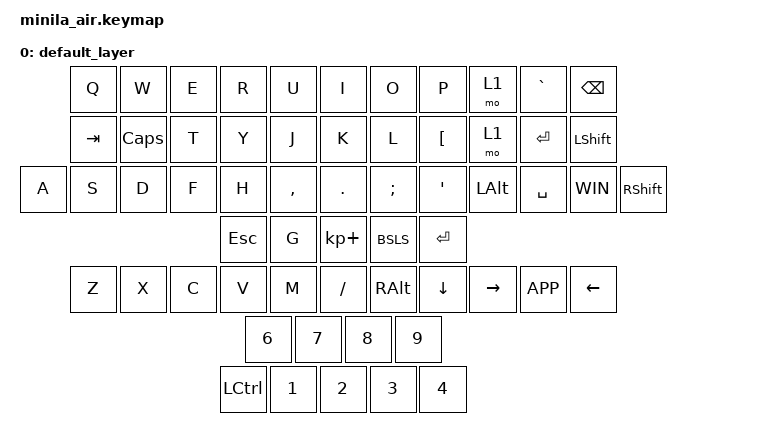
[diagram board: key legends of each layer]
/ {
    keymap {
        compatible = "zmk,keymap";

        default_layer {
            bindings = <
                &kp Q &kp W &kp E &kp R &kp U &kp I &kp O &kp P &mo 1 &kp GRAVE &kp BSPC
                &kp TAB &kp CAPS &kp T &kp Y &kp J &kp K &kp L &kp LBKT &mo 1 &kp RET &kp LSHFT
                &kp A &kp S &kp D &kp F &kp H &kp COMMA &kp DOT &kp SEMI &kp SQT &kp LALT &kp SPC &kp WIN &kp RSHFT
                &kp ESC &kp G &kp KP_PLUS &kp BSLS &kp ENTER
                &kp Z &kp X &kp C &kp V &kp M &kp SLASH &kp RALT &kp DOWN &kp RIGHT &kp APP &kp LEFT
                &kp 6 &kp 7 &kp 8 &kp 9
                &kp LCTRL &kp 1 &kp 2 &kp 3 &kp 4
            >;
        };
    };
};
